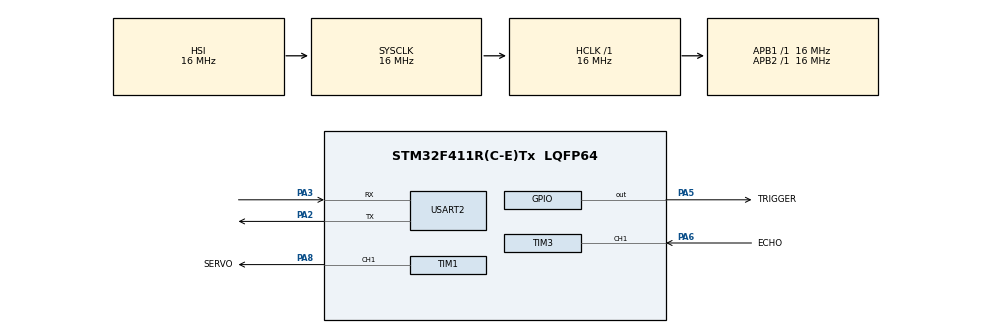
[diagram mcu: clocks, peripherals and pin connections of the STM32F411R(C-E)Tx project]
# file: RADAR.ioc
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Mcu.Family=STM32F4
Mcu.Name=STM32F411R(C-E)Tx
Mcu.Package=LQFP64
NVIC.PriorityGroup=NVIC_PRIORITYGROUP_4
NVIC.TIM3_IRQn=true\:0\:0\:false\:false\:true\:true\:true\:true
NVIC.USART2_IRQn=true\:0\:0\:false\:false\:true\:true\:true\:true
PA2.Mode=Asynchronous
PA2.Signal=USART2_TX
PA3.Mode=Asynchronous
PA3.Signal=USART2_RX
PA5.GPIO_Label=TRIGGER
PA5.Signal=GPIO_Output
PA6.GPIO_Label=ECHO
PA6.Signal=S_TIM3_CH1
PA8.GPIO_Label=SERVO
PA8.Signal=S_TIM1_CH1
ProjectManager.HeapSize=0x200
ProjectManager.StackSize=0x400
ProjectManager.TargetToolchain=STM32CubeIDE
RCC.AHBFreq_Value=16000000
RCC.APB1Freq_Value=16000000
RCC.APB2Freq_Value=16000000
RCC.CortexFreq_Value=16000000
RCC.HSE_VALUE=25000000
RCC.HSI_VALUE=16000000
RCC.LSE_VALUE=32768
RCC.SYSCLKFreq_VALUE=16000000
RCC.VCOOutputFreq_Value=192000000
SH.S_TIM1_CH1.0=TIM1_CH1,PWM Generation1 CH1
SH.S_TIM3_CH1.0=TIM3_CH1,Input_Capture1_from_TI1
TIM1.Channel-PWM\ Generation1\ CH1=TIM_CHANNEL_1
TIM1.Period=20000-1
TIM1.Prescaler=16-1
TIM1.Pulse-PWM\ Generation1\ CH1=1500-1
TIM11.Prescaler=16-1
TIM3.Channel-Input_Capture1_from_TI1=TIM_CHANNEL_1
TIM3.Prescaler=16-1
USART2.VirtualMode=VM_ASYNC
VP_TIM11_VS_ClockSourceINT.Mode=Enable_Timer
VP_TIM1_VS_ClockSourceINT.Mode=Internal
VP_TIM3_VS_ClockSourceINT.Mode=Internal
board=custom

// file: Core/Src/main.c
/* USER CODE BEGIN Header */
/**
  ******************************************************************************
  * @file           : main.c
  * @brief          : Main program body
  ******************************************************************************
  * @attention
  *
  * Copyright (c) 2024 STMicroelectronics.
  * All rights reserved.
  *
  * This software is licensed under terms that can be found in the LICENSE file
  * in the root directory of this software component.
  * If no LICENSE file comes with this software, it is provided AS-IS.
  *
  ******************************************************************************
  */
/* USER CODE END Header */
#include "main.h"

/* USER CODE BEGIN Includes */
#include "uart.h"
/* USER CODE END Includes */

TIM_HandleTypeDef htim1;
TIM_HandleTypeDef htim3;
TIM_HandleTypeDef htim11;

UART_HandleTypeDef huart2;

void SystemClock_Config(void);
static void MX_GPIO_Init(void);
static void MX_TIM1_Init(void);
static void MX_TIM3_Init(void);
static void MX_TIM11_Init(void);
static void MX_USART2_UART_Init(void);

/* USER CODE BEGIN 0 */
long map(long x, long in_min, long in_max, long out_min, long out_max) {
  return (x - in_min) * (out_max - out_min) / (in_max - in_min) + out_min;
}

void delayUs(uint16_t time)
{
   htim11.Instance->CNT = 0;
   while(htim11.Instance->CNT<time);
}

uint32_t IC_Val1 = 0;
uint32_t IC_Val2 = 0;
uint32_t Difference = 0;
uint8_t IsFirstCaptured = 0;
uint8_t Distance = 0;

void HAL_TIM_IC_CaptureCallback(TIM_HandleTypeDef *htim)//interrupt
{
   if(htim->Channel == HAL_TIM_ACTIVE_CHANNEL_1)
   {
      //rising interrupt
      if(IsFirstCaptured == 0)
      {

         IC_Val1 = HAL_TIM_ReadCapturedValue(htim, TIM_CHANNEL_1);
         IsFirstCaptured = 1;

         __HAL_TIM_SET_CAPTUREPOLARITY(htim,TIM_CHANNEL_1,TIM_INPUTCHANNELPOLARITY_FALLING);
      }
      //falling interrupt
      else if(IsFirstCaptured == 1)
      {
         IC_Val2 = HAL_TIM_ReadCapturedValue(htim, TIM_CHANNEL_1);
         htim->Instance -> CNT = 0;
         if(IC_Val2 > IC_Val1) Difference = IC_Val2 - IC_Val1;
         else if(IC_Val1 > IC_Val2) Difference = (0xffff - IC_Val1) + IC_Val2;

         Distance = Difference * 0.034/2;
         IsFirstCaptured = 0;

         __HAL_TIM_SET_CAPTUREPOLARITY(htim,TIM_CHANNEL_1,TIM_INPUTCHANNELPOLARITY_RISING);
         __HAL_TIM_DISABLE_IT(htim, TIM_IT_CC1);
      }
   }
}

uint32_t getDistance()
{
   //trigger
   HAL_GPIO_WritePin(TRIGGER_GPIO_Port, TRIGGER_Pin,1);
   delayUs(10);
   HAL_GPIO_WritePin(TRIGGER_GPIO_Port, TRIGGER_Pin,0);

   //interrupt on
   __HAL_TIM_ENABLE_IT(&htim3, TIM_IT_CC1);
   return Distance;
}
/* USER CODE END 0 */

int main(void)
{

  /* MCU Configuration--------------------------------------------------------*/

  /* Reset of all peripherals, Initializes the Flash interface and the Systick. */
  HAL_Init();

  /* Configure the system clock */
  SystemClock_Config();

  /* Initialize all configured peripherals */
  MX_GPIO_Init();
  MX_TIM1_Init();
  MX_TIM3_Init();
  MX_TIM11_Init();
  MX_USART2_UART_Init();
  /* USER CODE BEGIN 2 */
  inituart(&huart2);
  HAL_TIM_PWM_Start(&htim1, TIM_CHANNEL_1);
  HAL_TIM_IC_Start_IT(&htim3, TIM_CHANNEL_1);
  HAL_TIM_Base_Start(&htim11);
  /* USER CODE END 2 */

  /* Infinite loop */
  /* USER CODE BEGIN WHILE */
  while (1)
  {
     protocol_t txData, rxData;
     rxData = receivepacket();
     if(rxData.command == 'R'){
        htim1.Instance -> CCR1 = map(rxData.data,0,180,500,2300);
        txData.command = 'A';
        txData.data = getDistance();
        transmitpacket(txData);
     }
    /* USER CODE END WHILE */

  }
}

void SystemClock_Config(void)
{
  RCC_OscInitTypeDef RCC_OscInitStruct = {0};
  RCC_ClkInitTypeDef RCC_ClkInitStruct = {0};

  /** Configure the main internal regulator output voltage
  */
  __HAL_RCC_PWR_CLK_ENABLE();
  __HAL_PWR_VOLTAGESCALING_CONFIG(PWR_REGULATOR_VOLTAGE_SCALE1);

  /** Initializes the RCC Oscillators according to the specified parameters
  * in the RCC_OscInitTypeDef structure.
  */
  RCC_OscInitStruct.OscillatorType = RCC_OSCILLATORTYPE_HSI;
  RCC_OscInitStruct.HSIState = RCC_HSI_ON;
  RCC_OscInitStruct.HSICalibrationValue = RCC_HSICALIBRATION_DEFAULT;
  RCC_OscInitStruct.PLL.PLLState = RCC_PLL_NONE;
  if (HAL_RCC_OscConfig(&RCC_OscInitStruct) != HAL_OK)
  {
    Error_Handler();
  }

  /** Initializes the CPU, AHB and APB buses clocks
  */
  RCC_ClkInitStruct.ClockType = RCC_CLOCKTYPE_HCLK|RCC_CLOCKTYPE_SYSCLK
                              |RCC_CLOCKTYPE_PCLK1|RCC_CLOCKTYPE_PCLK2;
  RCC_ClkInitStruct.SYSCLKSource = RCC_SYSCLKSOURCE_HSI;
  RCC_ClkInitStruct.AHBCLKDivider = RCC_SYSCLK_DIV1;
  RCC_ClkInitStruct.APB1CLKDivider = RCC_HCLK_DIV1;
  RCC_ClkInitStruct.APB2CLKDivider = RCC_HCLK_DIV1;

  if (HAL_RCC_ClockConfig(&RCC_ClkInitStruct, FLASH_LATENCY_0) != HAL_OK)
  {
    Error_Handler();
  }
}

static void MX_TIM1_Init(void)
{

  TIM_ClockConfigTypeDef sClockSourceConfig = {0};
  TIM_MasterConfigTypeDef sMasterConfig = {0};
  TIM_OC_InitTypeDef sConfigOC = {0};
  TIM_BreakDeadTimeConfigTypeDef sBreakDeadTimeConfig = {0};

  htim1.Instance = TIM1;
  htim1.Init.Prescaler = 16-1;
  htim1.Init.CounterMode = TIM_COUNTERMODE_UP;
  htim1.Init.Period = 20000-1;
  htim1.Init.ClockDivision = TIM_CLOCKDIVISION_DIV1;
  htim1.Init.RepetitionCounter = 0;
  htim1.Init.AutoReloadPreload = TIM_AUTORELOAD_PRELOAD_DISABLE;
  if (HAL_TIM_Base_Init(&htim1) != HAL_OK)
  {
    Error_Handler();
  }
  sClockSourceConfig.ClockSource = TIM_CLOCKSOURCE_INTERNAL;
  if (HAL_TIM_ConfigClockSource(&htim1, &sClockSourceConfig) != HAL_OK)
  {
    Error_Handler();
  }
  if (HAL_TIM_PWM_Init(&htim1) != HAL_OK)
  {
    Error_Handler();
  }
  sMasterConfig.MasterOutputTrigger = TIM_TRGO_RESET;
  sMasterConfig.MasterSlaveMode = TIM_MASTERSLAVEMODE_DISABLE;
  if (HAL_TIMEx_MasterConfigSynchronization(&htim1, &sMasterConfig) != HAL_OK)
  {
    Error_Handler();
  }
  sConfigOC.OCMode = TIM_OCMODE_PWM1;
  sConfigOC.Pulse = 1500-1;
  sConfigOC.OCPolarity = TIM_OCPOLARITY_HIGH;
  sConfigOC.OCNPolarity = TIM_OCNPOLARITY_HIGH;
  sConfigOC.OCFastMode = TIM_OCFAST_DISABLE;
  sConfigOC.OCIdleState = TIM_OCIDLESTATE_RESET;
  sConfigOC.OCNIdleState = TIM_OCNIDLESTATE_RESET;
  if (HAL_TIM_PWM_ConfigChannel(&htim1, &sConfigOC, TIM_CHANNEL_1) != HAL_OK)
  {
    Error_Handler();
  }
  sBreakDeadTimeConfig.OffStateRunMode = TIM_OSSR_DISABLE;
  sBreakDeadTimeConfig.OffStateIDLEMode = TIM_OSSI_DISABLE;
  sBreakDeadTimeConfig.LockLevel = TIM_LOCKLEVEL_OFF;
  sBreakDeadTimeConfig.DeadTime = 0;
  sBreakDeadTimeConfig.BreakState = TIM_BREAK_DISABLE;
  sBreakDeadTimeConfig.BreakPolarity = TIM_BREAKPOLARITY_HIGH;
  sBreakDeadTimeConfig.AutomaticOutput = TIM_AUTOMATICOUTPUT_DISABLE;
  if (HAL_TIMEx_ConfigBreakDeadTime(&htim1, &sBreakDeadTimeConfig) != HAL_OK)
  {
    Error_Handler();
  }
  HAL_TIM_MspPostInit(&htim1);

}

static void MX_TIM3_Init(void)
{

  TIM_ClockConfigTypeDef sClockSourceConfig = {0};
  TIM_MasterConfigTypeDef sMasterConfig = {0};
  TIM_IC_InitTypeDef sConfigIC = {0};

  htim3.Instance = TIM3;
  htim3.Init.Prescaler = 16-1;
  htim3.Init.CounterMode = TIM_COUNTERMODE_UP;
  htim3.Init.Period = 65535;
  htim3.Init.ClockDivision = TIM_CLOCKDIVISION_DIV1;
  htim3.Init.AutoReloadPreload = TIM_AUTORELOAD_PRELOAD_DISABLE;
  if (HAL_TIM_Base_Init(&htim3) != HAL_OK)
  {
    Error_Handler();
  }
  sClockSourceConfig.ClockSource = TIM_CLOCKSOURCE_INTERNAL;
  if (HAL_TIM_ConfigClockSource(&htim3, &sClockSourceConfig) != HAL_OK)
  {
    Error_Handler();
  }
  if (HAL_TIM_IC_Init(&htim3) != HAL_OK)
  {
    Error_Handler();
  }
  sMasterConfig.MasterOutputTrigger = TIM_TRGO_RESET;
  sMasterConfig.MasterSlaveMode = TIM_MASTERSLAVEMODE_DISABLE;
  if (HAL_TIMEx_MasterConfigSynchronization(&htim3, &sMasterConfig) != HAL_OK)
  {
    Error_Handler();
  }
  sConfigIC.ICPolarity = TIM_INPUTCHANNELPOLARITY_RISING;
  sConfigIC.ICSelection = TIM_ICSELECTION_DIRECTTI;
  sConfigIC.ICPrescaler = TIM_ICPSC_DIV1;
  sConfigIC.ICFilter = 0;
  if (HAL_TIM_IC_ConfigChannel(&htim3, &sConfigIC, TIM_CHANNEL_1) != HAL_OK)
  {
    Error_Handler();
  }

}

static void MX_TIM11_Init(void)
{

  htim11.Instance = TIM11;
  htim11.Init.Prescaler = 16-1;
  htim11.Init.CounterMode = TIM_COUNTERMODE_UP;
  htim11.Init.Period = 65535;
  htim11.Init.ClockDivision = TIM_CLOCKDIVISION_DIV1;
  htim11.Init.AutoReloadPreload = TIM_AUTORELOAD_PRELOAD_DISABLE;
  if (HAL_TIM_Base_Init(&htim11) != HAL_OK)
  {
    Error_Handler();
  }

}

static void MX_USART2_UART_Init(void)
{

  huart2.Instance = USART2;
  huart2.Init.BaudRate = 115200;
  huart2.Init.WordLength = UART_WORDLENGTH_8B;
  huart2.Init.StopBits = UART_STOPBITS_1;
  huart2.Init.Parity = UART_PARITY_NONE;
  huart2.Init.Mode = UART_MODE_TX_RX;
  huart2.Init.HwFlowCtl = UART_HWCONTROL_NONE;
  huart2.Init.OverSampling = UART_OVERSAMPLING_16;
  if (HAL_UART_Init(&huart2) != HAL_OK)
  {
    Error_Handler();
  }

}

static void MX_GPIO_Init(void)
{
  GPIO_InitTypeDef GPIO_InitStruct = {0};

  /* GPIO Ports Clock Enable */
  __HAL_RCC_GPIOA_CLK_ENABLE();

  /*Configure GPIO pin Output Level */
  HAL_GPIO_WritePin(TRIGGER_GPIO_Port, TRIGGER_Pin, GPIO_PIN_RESET);

  /*Configure GPIO pin : trigger_Pin */
  GPIO_InitStruct.Pin = TRIGGER_Pin;
  GPIO_InitStruct.Mode = GPIO_MODE_OUTPUT_PP;
  GPIO_InitStruct.Pull = GPIO_NOPULL;
  GPIO_InitStruct.Speed = GPIO_SPEED_FREQ_LOW;
  HAL_GPIO_Init(TRIGGER_GPIO_Port, &GPIO_InitStruct);

}

void Error_Handler(void)
{
  __disable_irq();
  while (1)
  {
  }
}
